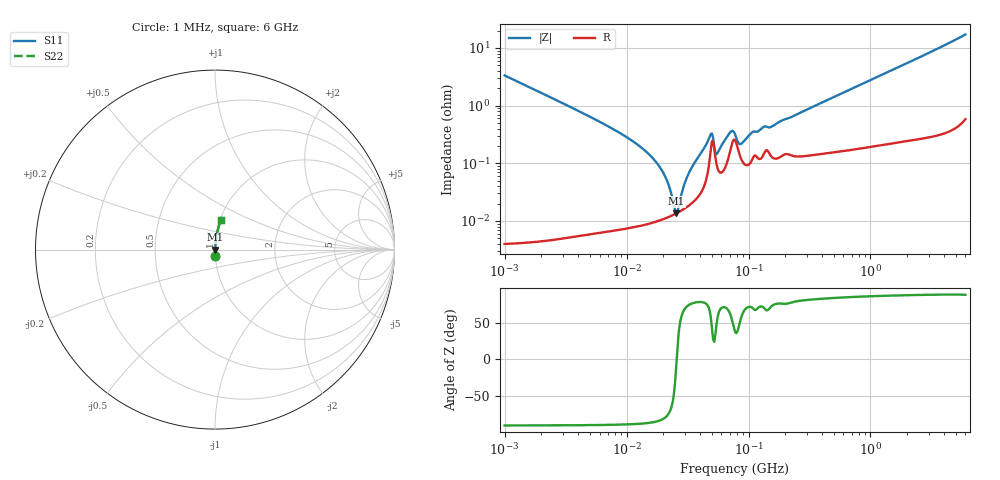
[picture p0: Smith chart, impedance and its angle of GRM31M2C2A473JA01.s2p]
!Murata Part Number: GRM31M2C2A473JA01
!These Parameters are Measured in Series Mode Connection
!Data Generated on Mar 30, 2021
!  o--ll--o
!Port1  Port2
!  o------o
!Operation Temp=25[degC], DC Bias Voltage=0[V]
!Freq. Start=1000[kHz] Stop=6[GHz] 401[Steps]
# Hz S RI R 50
!Freq.(Hz) S11(Real) S11(Imag) S21(Real) S21(Imag) S12(Real) S12(Imag) S22(Real) S22(Imag)
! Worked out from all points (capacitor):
!   401 points, 1 MHz to 6 GHz, reference 50 ohm
!   read as one part in series: C = 47.6 nF near 1.044 MHz
!   lowest |Z| = 13.7 mohm at 25.55 MHz (marker M1)
!   series resonance near 25.74 MHz, so ESL is about 800 pH
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1000000  0.00115 -0.0333  0.9988 0.0333  0.9988 0.0333  0.00115 -0.0333
4293785  0.000113 -0.00756  0.9999 0.00756  0.9999 0.00756  0.000113 -0.00756
1.117988e7  8.28e-05 -0.00243  0.9999 0.00243  0.9999 0.00243  8.28e-05 -0.00243
1.483293e7  9.02e-05 -0.00152  0.9999 0.00152  0.9999 0.00152  9.02e-05 -0.00152
1.843659e7  0.000102 -0.000896  0.9999 0.000896  0.9999 0.000896  0.000102 -0.000896
2.146833e7  0.000114 -0.000484  0.9999 0.000484  0.9999 0.000484  0.000114 -0.000484
2.44608e7  0.000129 -0.000137  0.9999 0.000137  0.9999 0.000137  0.000129 -0.000137
2.554826e7  0.000135 -1.99e-05  0.9999 1.99e-05  0.9999 1.99e-05  0.000135 -1.99e-05
2.668407e7  0.000142 9.78e-05  0.9999 -9.78e-05  0.9999 -9.78e-05  0.000142 9.78e-05
2.974945e7  0.000163 0.0004  0.9998 -0.0004  0.9998 -0.0004  0.000163 0.0004
3.245342e7  0.000186 0.000655  0.9998 -0.000655  0.9998 -0.000655  0.000186 0.000655
4.800399e7  0.00116 0.00263  0.9988 -0.00263  0.9988 -0.00263  0.00116 0.00263
5.013812e7  0.00241 0.00223  0.9976 -0.00223  0.9976 -0.00223  0.00241 0.00223
5.351853e7  0.00125 0.000856  0.9987 -0.000856  0.9987 -0.000856  0.00125 0.000856
5.589783e7  0.0008 0.00129  0.9992 -0.00129  0.9992 -0.00129  0.0008 0.00129
7.100585e7  0.00169 0.00302  0.9983 -0.00302  0.9983 -0.00302  0.00169 0.00302
7.745967e7  0.00253 0.00195  0.9975 -0.00195  0.9975 -0.00195  0.00253 0.00195
8.635799e7  0.00124 0.00176  0.9988 -0.00176  0.9988 -0.00176  0.00124 0.00176
1.073387e8  0.00117 0.00325  0.9988 -0.00325  0.9988 -0.00325  0.00117 0.00325
3.325952e8  0.00146 0.0093  0.9985 -0.0093  0.9985 -0.0093  0.00146 0.0093
1.428092e9  0.00369 0.0389  0.9963 -0.0389  0.9963 -0.0389  0.00369 0.0389
6e9  0.0338 0.1645  0.9662 -0.1645  0.9662 -0.1645  0.0338 0.1645
